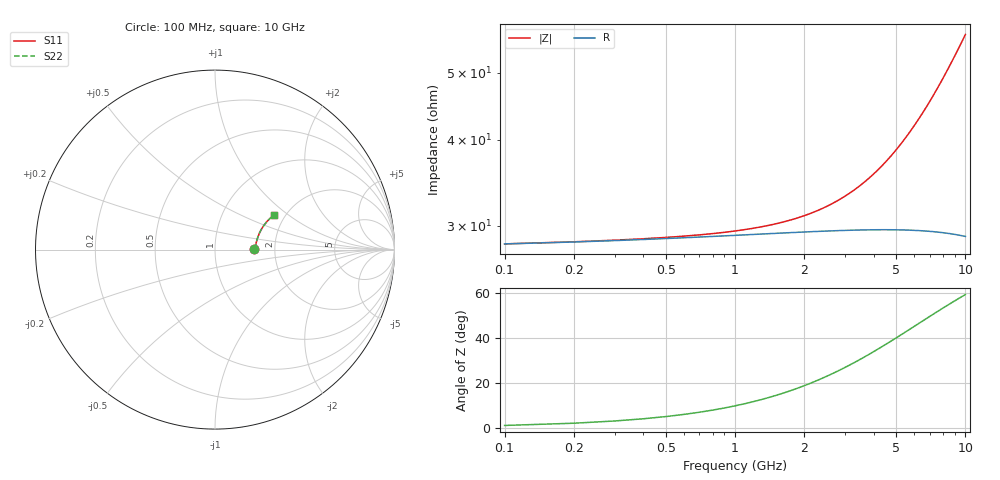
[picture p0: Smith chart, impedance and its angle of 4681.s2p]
# Hz S RI R 50.00
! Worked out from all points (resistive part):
!   100 points, 100 MHz to 10 GHz, reference 50 ohm
!   read as one part in series: R = 28.2 ohm at 100 MHz
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1e8  0.22 0.00238  0.78 -0.00364  0.78 -0.00364  0.22 0.00238
2e8  0.2212 0.00474  0.7788 -0.00726  0.7788 -0.00726  0.2212 0.00474
3e8  0.222 0.00708  0.778 -0.0109  0.778 -0.0109  0.222 0.00708
6e8  0.224 0.0141  0.776 -0.0216  0.776 -0.0216  0.224 0.0141
1.2e9  0.2272 0.0279  0.7726 -0.0431  0.7726 -0.0431  0.2272 0.0279
1.5e9  0.2288 0.0348  0.771 -0.0537  0.771 -0.0537  0.2288 0.0348
1.8e9  0.2305 0.0416  0.7692 -0.0643  0.7692 -0.0643  0.2305 0.0416
2.2e9  0.2329 0.0505  0.7667 -0.0783  0.7667 -0.0783  0.2329 0.0505
2.6e9  0.2355 0.0594  0.7638 -0.0922  0.7638 -0.0922  0.2355 0.0594
3e9  0.2384 0.0682  0.7608 -0.106  0.7608 -0.106  0.2384 0.0682
3.4e9  0.2416 0.0768  0.7574 -0.1197  0.7574 -0.1197  0.2416 0.0768
3.8e9  0.245 0.0853  0.7537 -0.1332  0.7537 -0.1332  0.245 0.0853
4.2e9  0.2486 0.0936  0.7498 -0.1466  0.7498 -0.1466  0.2486 0.0936
4.6e9  0.2526 0.1018  0.7455 -0.1599  0.7455 -0.1599  0.2526 0.1018
5.1e9  0.2579 0.1118  0.7398 -0.1762  0.7398 -0.1762  0.2579 0.1118
5.9e9  0.2672 0.1271  0.7297 -0.2016  0.7297 -0.2016  0.2672 0.1271
6.7e9  0.2775 0.1416  0.7185 -0.2263  0.7185 -0.2263  0.2775 0.1416
7.1e9  0.2829 0.1485  0.7125 -0.2383  0.7125 -0.2383  0.2829 0.1485
7.6e9  0.2901 0.1568  0.7047 -0.253  0.7047 -0.253  0.2901 0.1568
8.4e9  0.3021 0.1693  0.6915 -0.2757  0.6915 -0.2757  0.3021 0.1693
9.2e9  0.3149 0.1808  0.6775 -0.2974  0.6775 -0.2974  0.3149 0.1808
1e10  0.3283 0.1913  0.6627 -0.3181  0.6627 -0.3181  0.3283 0.1913
